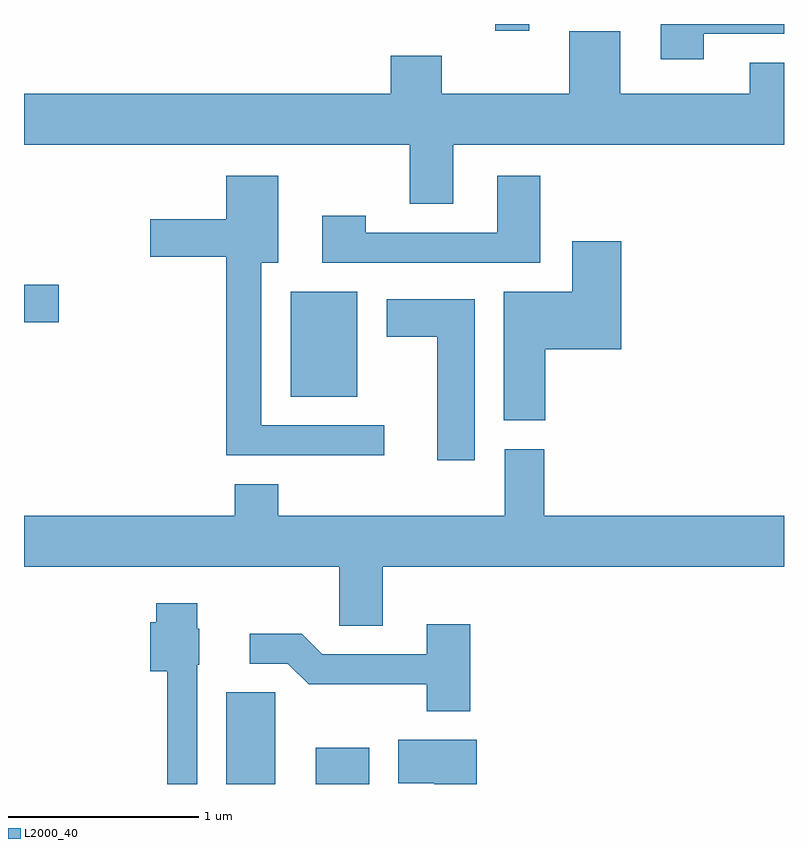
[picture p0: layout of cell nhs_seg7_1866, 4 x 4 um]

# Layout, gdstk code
import gdstk
lib = gdstk.Library(unit=1e-6, precision=1e-09)
def R(c, l, rs):  # rectangles x0, y0, x1, y1
    for r in rs: c.add(gdstk.rectangle(r[:2], r[2:], *l))
def P(c, l, *ps):  # polygons
    for p in ps: c.add(gdstk.Polygon(p, *l))
L2000_40 = (2000, 40)

nhs_seg7_1866 = lib.new_cell('nhs_seg7_1866')
R(nhs_seg7_1866, L2000_40, [(242.676,1744.252,242.934,1744.734), (243.146,1744.252,243.429,1744.444), (243.016,1746.291,243.364,1746.844), (241.611,1746.681,241.794,1746.879), (244.091,1748.216,244.269,1748.252), (243.063,1748.251,243.914,1748.252)])
P(nhs_seg7_1866, L2000_40, [(245.189,1748.201),(245.611,1748.201),(245.611,1748.252),(244.961,1748.252),(244.961,1748.066),(245.189,1748.066)],
  [(243.869,1747.616),(245.611,1747.616),(245.611,1748.049),(245.431,1748.049),(245.431,1747.884),(244.749,1747.884),(244.749,1748.214),(244.481,1748.214),(244.481,1747.884),(243.809,1747.884),(243.809,1748.084),(243.541,1748.084),(243.541,1747.884),(241.611,1747.884),(241.611,1747.616),(243.641,1747.616),(243.641,1747.306),(243.869,1747.306)],
  [(244.329,1747.454),(244.101,1747.454),(244.101,1747.154),(243.409,1747.154),(243.409,1747.244),(243.181,1747.244),(243.181,1746.996),(244.329,1746.996)],
  [(243.508,1746.139),(242.859,1746.139),(242.859,1746.996),(242.949,1746.996),(242.949,1747.454),(242.676,1747.454),(242.676,1747.224),(242.276,1747.224),(242.276,1747.026),(242.676,1747.026),(242.676,1745.981),(243.508,1745.981)],
  [(244.354,1746.541),(244.754,1746.541),(244.754,1747.109),(244.496,1747.109),(244.496,1746.844),(244.136,1746.844),(244.136,1746.166),(244.354,1746.166)],
  [(243.984,1746.804),(243.521,1746.804),(243.521,1746.606),(243.786,1746.606),(243.786,1745.956),(243.984,1745.956)],
  [(243.499,1745.396),(245.611,1745.396),(245.611,1745.664),(244.349,1745.664),(244.349,1746.014),(244.141,1746.014),(244.141,1745.664),(242.949,1745.664),(242.949,1745.829),(242.721,1745.829),(242.721,1745.664),(241.611,1745.664),(241.611,1745.396),(243.271,1745.396),(243.271,1745.086),(243.499,1745.086)],
  [(242.524,1744.88),(242.534,1744.88),(242.534,1745.07),(242.524,1745.07),(242.524,1745.204),(242.306,1745.204),(242.306,1745.104),(242.276,1745.104),(242.276,1744.846),(242.366,1744.846),(242.366,1744.252),(242.524,1744.252)],
  [(243.959,1745.094),(243.731,1745.094),(243.731,1744.934),(243.182,1744.934),(243.072,1745.044),(242.798,1745.044),(242.798,1744.886),(242.999,1744.886),(243.109,1744.776),(243.731,1744.776),(243.731,1744.636),(243.959,1744.636)],
  [(243.994,1744.484),(243.581,1744.484),(243.581,1744.256),(243.771,1744.256),(243.771,1744.252),(243.994,1744.252)])

lib.write_gds('nhs_seg7_1866.gds')
